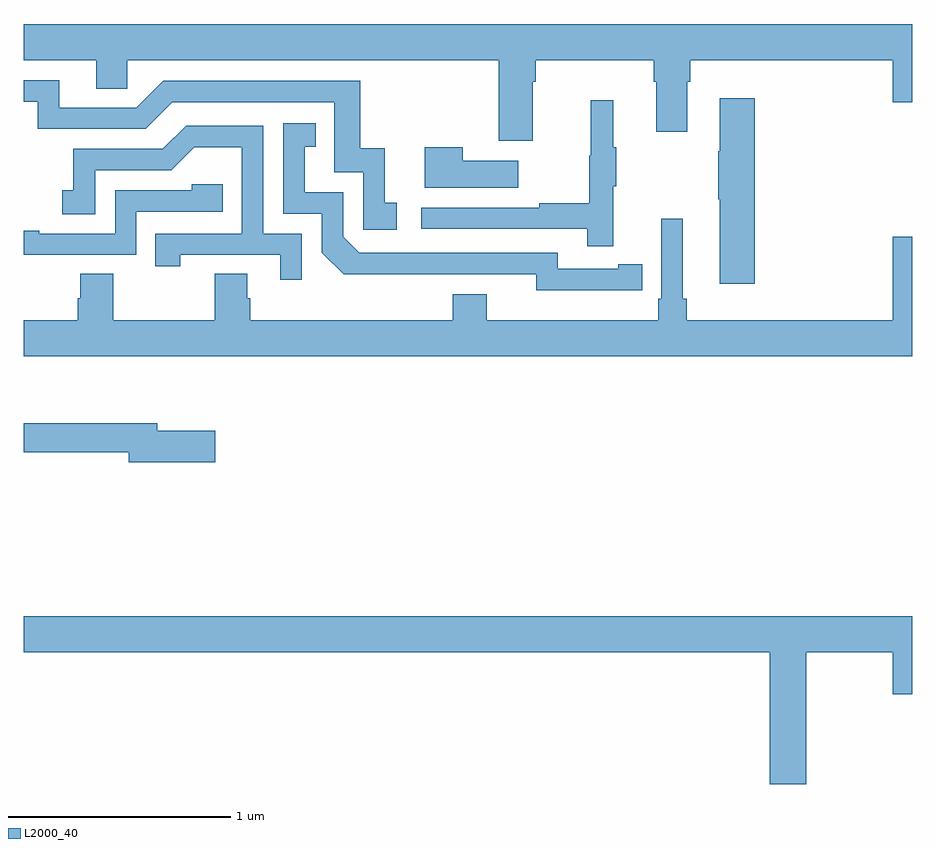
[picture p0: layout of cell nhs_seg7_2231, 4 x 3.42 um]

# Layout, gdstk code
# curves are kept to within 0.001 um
import gdstk
lib = gdstk.Library(unit=1e-6, precision=1e-09)
def P(c, l, *ps):  # polygons
    for p in ps: c.add(gdstk.Polygon(p, *l))
L2000_40 = (2000, 40)

nhs_seg7_2231 = lib.new_cell('nhs_seg7_2231')
P(nhs_seg7_2231, L2000_40, [(259.291,1027.16),(259.304,1027.16),(259.304,1027.256),(259.835,1027.256),(259.835,1027.16),(259.847,1027.16),(259.847,1026.936),(259.987,1026.936),(259.987,1027.16),(260,1027.16),(260,1027.256),(260.912,1027.256),(260.912,1027.068),(261,1027.068),(261,1027.42),(257,1027.42),(257,1027.256),(257.327,1027.256),(257.327,1027.129),(257.466,1027.129),(257.466,1027.256),(259.139,1027.256),(259.139,1026.894),(259.291,1026.894)],
  [(258.679,1026.615),(258.626,1026.615),(258.626,1026.862),(258.515,1026.862),(258.515,1027.164),(257.628,1027.164),(257.508,1027.044),(257.161,1027.044),(257.161,1027.167),(257,1027.167),(257,1027.071),(257.064,1027.071),(257.064,1026.948),(257.55,1026.948),(257.67,1027.068),(258.399,1027.068),(258.399,1026.753),(258.528,1026.753),(258.528,1026.495),(258.679,1026.495)],
  [(260.291,1027.087),(260.132,1027.087),(260.132,1026.848),(260.125,1026.848),(260.125,1026.631),(260.132,1026.631),(260.132,1026.252),(260.291,1026.252)],
  [(259.654,1026.691),(259.666,1026.691),(259.666,1026.865),(259.654,1026.865),(259.654,1027.078),(259.552,1027.078),(259.552,1026.828),(259.545,1026.828),(259.545,1026.614),(259.321,1026.614),(259.321,1026.594),(258.789,1026.594),(258.789,1026.498),(259.537,1026.498),(259.537,1026.42),(259.654,1026.42)],
  [(259.676,1026.222),(259.784,1026.222),(259.784,1026.338),(259.676,1026.338),(259.676,1026.318),(259.404,1026.318),(259.404,1026.39),(258.51,1026.39),(258.438,1026.462),(258.438,1026.663),(258.265,1026.663),(258.265,1026.867),(258.314,1026.867),(258.314,1026.973),(258.168,1026.973),(258.168,1026.567),(258.342,1026.567),(258.342,1026.39),(258.44,1026.293),(259.308,1026.294),(259.308,1026.221)],
  [(258.252,1026.477),(258.078,1026.477),(258.078,1026.963),(257.732,1026.963),(257.627,1026.858),(257.224,1026.858),(257.224,1026.673),(257.175,1026.673),(257.175,1026.564),(257.322,1026.564),(257.322,1026.762),(257.664,1026.762),(257.768,1026.866),(257.982,1026.866),(257.982,1026.477),(257.593,1026.477),(257.593,1026.33),(257.704,1026.33),(257.704,1026.381),(258.155,1026.381),(258.155,1026.27),(258.252,1026.27)],
  [(259.225,1026.805),(258.977,1026.805),(258.977,1026.865),(258.806,1026.865),(258.806,1026.683),(259.225,1026.683)],
  [(257.508,1026.576),(257.897,1026.576),(257.897,1026.699),(257.757,1026.699),(257.757,1026.672),(257.412,1026.672),(257.412,1026.477),(257.071,1026.477),(257.071,1026.49),(257,1026.49),(257,1026.381),(257.508,1026.381)],
  [(261,1026.463),(260.912,1026.463),(260.912,1026.088),(259.985,1026.088),(259.985,1026.184),(259.966,1026.184),(259.966,1026.544),(259.869,1026.544),(259.869,1026.184),(259.856,1026.184),(259.856,1026.088),(259.084,1026.088),(259.084,1026.205),(258.932,1026.205),(258.932,1026.088),(258.02,1026.088),(258.02,1026.186),(258.007,1026.186),(258.007,1026.296),(257.86,1026.296),(257.86,1026.088),(257.403,1026.088),(257.403,1026.296),(257.255,1026.296),(257.255,1026.186),(257.243,1026.186),(257.243,1026.088),(257,1026.088),(257,1025.924),(261,1025.924)],
  [(257.863,1025.589),(257.602,1025.589),(257.602,1025.623),(257,1025.623),(257,1025.494),(257.474,1025.494),(257.474,1025.447),(257.863,1025.447)],
  [(260.521,1024.592),(260.912,1024.592),(260.912,1024.404),(261,1024.404),(261,1024.756),(257,1024.756),(257,1024.592),(260.357,1024.592),(260.357,1024),(260.521,1024)])

lib.write_gds('nhs_seg7_2231.gds')
